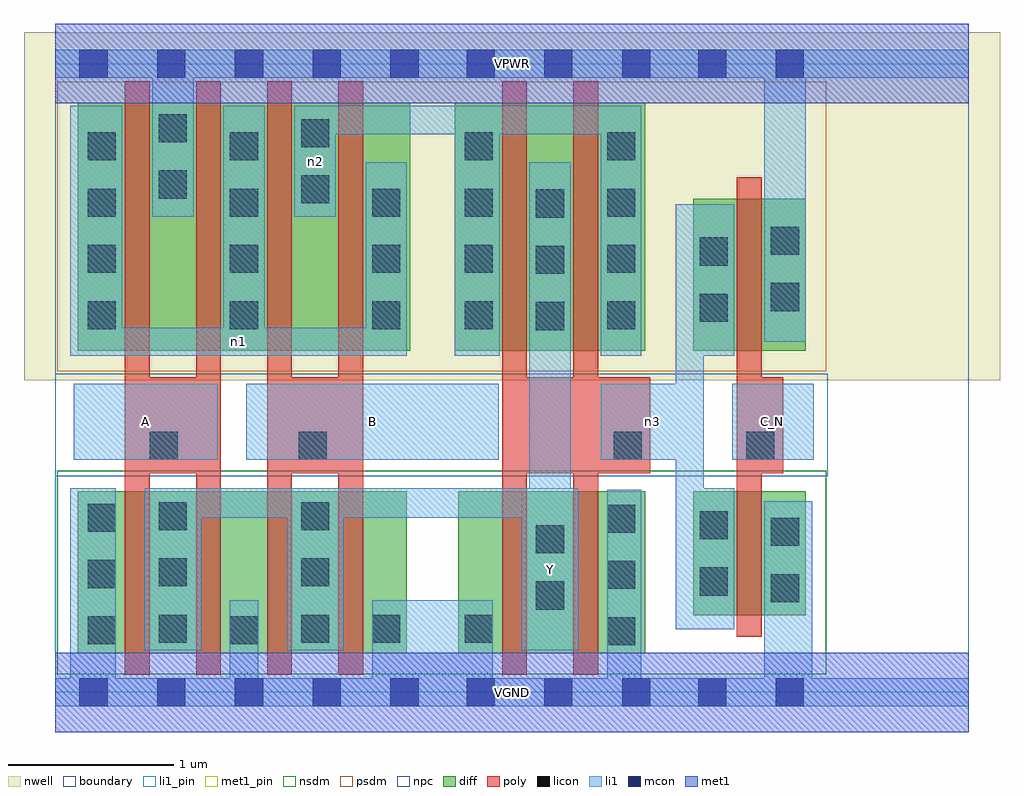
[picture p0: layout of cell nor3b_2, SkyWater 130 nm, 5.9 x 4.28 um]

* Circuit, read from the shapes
.subckt nor3b_2 A B C_N VGND VPWR Y n1 n2 n3
XM1 Y A VGND VSUBS sky130_fd_pr__nfet_01v8 w=0.98 l=0.15 m=2
XM2 Y B VGND VSUBS sky130_fd_pr__nfet_01v8 w=0.98 l=0.15 m=2
XM3 Y n3 VGND VSUBS sky130_fd_pr__nfet_01v8 w=0.98 l=0.15 m=2
XM4 VGND C_N n3 VSUBS sky130_fd_pr__nfet_01v8 w=0.75 l=0.15
XM5 VPWR A n1 n4 sky130_fd_pr__pfet_01v8 w=1.5 l=0.15 m=2
XM6 n2 B n1 n4 sky130_fd_pr__pfet_01v8 w=1.5 l=0.15 m=2
XM7 Y n3 n2 n4 sky130_fd_pr__pfet_01v8 w=1.5 l=0.15 m=2
XM8 VPWR C_N n3 n4 sky130_fd_pr__pfet_01v8 w=0.92 l=0.15
.ends

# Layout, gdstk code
import gdstk
lib = gdstk.Library(unit=1e-6, precision=1e-09)
def R(c, l, rs):  # rectangles x0, y0, x1, y1
    for r in rs: c.add(gdstk.rectangle(r[:2], r[2:], *l))
def A(c, l, x, y, w, h, nx, ny, dx, dy):  # array of equal rectangles
    R(c, l, [(x+i*dx, y+j*dy, x+i*dx+w, y+j*dy+h) for i in range(nx) for j in range(ny)])
nwell = (64, 20)
diff = (65, 20)
poly = (66, 20)
licon = (66, 44)
li1_pin = (67, 16)
li1 = (67, 20)
mcon = (67, 44)
met1_pin = (68, 16)
met1 = (68, 20)
nsdm = (93, 44)
psdm = (94, 20)
npc = (95, 20)
boundary = (235, 4)

nor3b_2 = lib.new_cell('nor3b_2')
R(nor3b_2, nwell, [(-0.19,1.885,5.71,3.99), (0,1.885,5.52,3.99)])
R(nor3b_2, diff, [(0.135,0.235,2.125,1.215), (2.435,0.235,3.565,1.215), (3.855,0.465,4.535,1.215), (0.135,2.065,2.145,3.565), (2.415,2.065,3.565,3.565), (3.855,2.065,4.535,2.985)])
A(nor3b_2, poly, 0.42, 0.105, 0.15, 3.59, 4, 1, 0.43, 0)
R(nor3b_2, poly, [(2.7,0.105,2.85,3.695), (3.13,0.105,3.28,3.695), (4.12,0.335,4.27,3.115), (0.42,1.325,1,1.905), (1.28,1.325,1.86,1.905), (2.7,1.325,3.595,1.905), (4.12,1.325,4.4,1.905)])
A(nor3b_2, licon, 3.335, 0.285, 0.17, 0.17, 1, 3, 0, 0.34)
A(nor3b_2, licon, 0.195, 0.29, 0.17, 0.17, 1, 3, 0, 0.34)
A(nor3b_2, licon, 0.625, 0.3, 0.17, 0.17, 1, 3, 0, 0.34)
A(nor3b_2, licon, 1.485, 0.3, 0.17, 0.17, 1, 3, 0, 0.34)
A(nor3b_2, licon, 2.905, 2.19, 0.17, 0.17, 1, 3, 0, 0.34)
A(nor3b_2, licon, 0.195, 2.195, 0.17, 0.17, 3, 3, 0.86, 0.34)
A(nor3b_2, licon, 2.475, 2.195, 0.17, 0.17, 1, 4, 0, 0.34)
A(nor3b_2, licon, 3.335, 2.195, 0.17, 0.17, 1, 4, 0, 0.34)
R(nor3b_2, licon, [(1.055,0.29,1.225,0.46), (1.915,0.3,2.085,0.47), (2.475,0.3,2.645,0.47), (2.905,0.5,3.075,0.67), (4.325,0.545,4.495,0.715), (3.895,0.585,4.065,0.755), (2.905,0.84,3.075,1.01), (4.325,0.885,4.495,1.055), (3.895,0.925,4.065,1.095), (0.57,1.405,0.74,1.575), (1.47,1.405,1.64,1.575), (3.375,1.405,3.545,1.575), (4.175,1.405,4.345,1.575), (3.895,2.24,4.065,2.41), (4.325,2.305,4.495,2.475), (3.895,2.58,4.065,2.75), (4.325,2.645,4.495,2.815), (1.485,2.955,1.655,3.125), (0.625,2.985,0.795,3.155), (0.195,3.215,0.365,3.385), (1.055,3.215,1.225,3.385), (1.485,3.295,1.655,3.465), (0.625,3.325,0.795,3.495)])
R(nor3b_2, li1_pin, [(2.82,0.255,3.16,1.235), (0.11,1.405,0.98,1.865), (1.155,1.405,2.68,1.865), (4.09,1.405,4.585,1.865)])
R(nor3b_2, li1, [(0,-0.085,5.52,0.085), (0.09,-0.085,0.365,1.235), (1.055,-0.085,1.225,0.555), (1.915,-0.085,2.645,0.555), (3.335,-0.085,3.54,1.225), (4.285,-0.085,4.575,1.155), (0.54,0.255,0.88,1.235), (1.4,0.255,1.74,1.235), (2.82,0.255,3.16,1.235), (2.865,0.255,3.115,3.205), (3.75,0.38,3.92,2.95), (3.75,0.38,4.105,1.235), (0.54,1.055,3.16,1.235), (0.11,1.405,0.98,1.865), (1.155,1.405,2.68,1.865), (3.295,1.405,3.92,1.865), (4.09,1.405,4.585,1.865), (0.09,2.035,2.125,2.205), (0.09,2.035,0.405,3.545), (1.015,2.035,1.265,3.545), (1.875,2.035,2.125,3.205), (2.415,2.035,2.685,3.545), (3.295,2.035,3.54,3.545), (3.75,2.035,4.105,2.95), (4.285,2.12,4.535,3.885), (0.585,2.875,0.835,3.885), (1.445,2.875,1.695,3.545), (1.445,3.375,3.54,3.545), (0,3.715,5.52,3.885)])
A(nor3b_2, mcon, 0.145, -0.085, 0.17, 0.17, 5, 2, 0.47, 3.8)
A(nor3b_2, mcon, 2.485, -0.085, 0.17, 0.17, 3, 2, 0.47, 3.8)
R(nor3b_2, mcon, [(3.885,-0.085,4.055,0.085), (4.355,-0.085,4.525,0.085), (3.885,3.715,4.055,3.885), (4.355,3.715,4.525,3.885)])
R(nor3b_2, met1_pin, [(0,-0.24,5.52,0.24), (0,3.56,5.52,4.04)])
R(nor3b_2, met1, [(0,-0.24,5.52,0.24), (0,3.56,5.52,4.04)])
R(nor3b_2, nsdm, [(0.01,0.11,4.66,1.34)])
R(nor3b_2, psdm, [(0.01,1.94,4.66,3.69)])
R(nor3b_2, npc, [(0,1.305,4.67,1.925)])
R(nor3b_2, boundary, [(0,0,5.52,3.8)])
nor3b_2.add(gdstk.Label('A', (0.545,1.635), layer=67, texttype=5))
nor3b_2.add(gdstk.Label('B', (1.917,1.635), layer=67, texttype=5))
nor3b_2.add(gdstk.Label('C_N', (4.337,1.635), layer=67, texttype=5))
nor3b_2.add(gdstk.Label('Y', (2.99,0.745), layer=67, texttype=5))
nor3b_2.add(gdstk.Label('n3', (3.607,1.635), layer=67, texttype=5))
nor3b_2.add(gdstk.Label('n1', (1.107,2.12), layer=67, texttype=5))
nor3b_2.add(gdstk.Label('n2', (1.57,3.21), layer=67, texttype=5))
nor3b_2.add(gdstk.Label('VPWR', (2.76,3.8), layer=68, texttype=5))
nor3b_2.add(gdstk.Label('VGND', (2.76,0), layer=68, texttype=5))
nor3b_2.add(gdstk.Label('A', (0.545,1.635), layer=67, texttype=16))
nor3b_2.add(gdstk.Label('B', (1.917,1.635), layer=67, texttype=16))
nor3b_2.add(gdstk.Label('C_N', (4.337,1.635), layer=67, texttype=16))
nor3b_2.add(gdstk.Label('Y', (2.99,0.745), layer=67, texttype=16))
nor3b_2.add(gdstk.Label('VPWR', (2.76,3.8), layer=68, texttype=16))
nor3b_2.add(gdstk.Label('VGND', (2.76,0), layer=68, texttype=16))

lib.write_gds('nor3b_2.gds')
